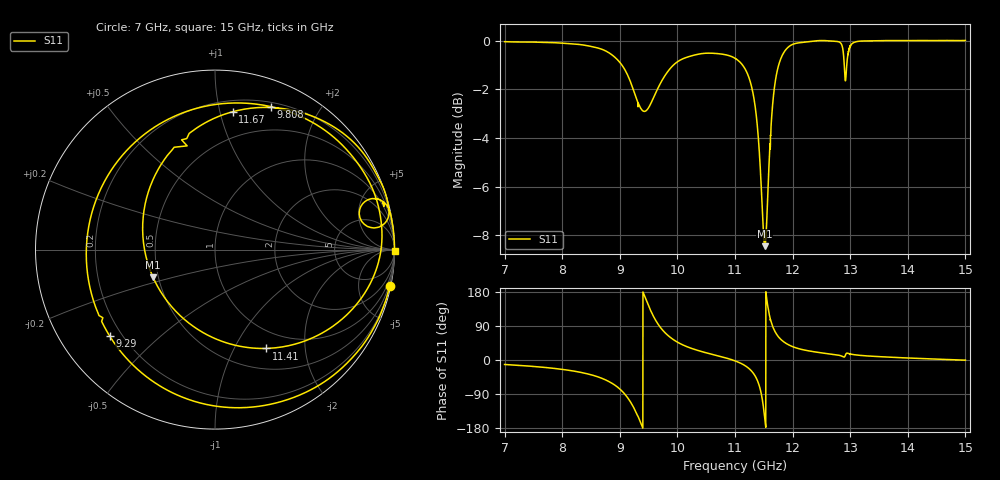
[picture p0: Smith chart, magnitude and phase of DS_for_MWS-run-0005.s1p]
! TOUCHSTONE file generated by CST DESIGN STUDIO
! Date and time: Mon Feb 10 16:54:03 2025
! Project name: C:\Work\MatlabApps\UnitCellType2OptimizationMatlab\CST\unitcell.cst
! Tree item: Tasks\Sweep1\SPara1\S-Parameters
! Header version: 2024
! Port assignment regex: !\s*Touchstone port\s*([0-9]+)\s*=\s*(CST MWS port|CST DES external port|CST DES block port)\s*(.+)\s* \(\"(.*)\"\)(\s*mode\s*([0-9]+))?.*
! Touchstone port assignment:
! Touchstone port 1 = CST DES external port 1 ("")
# GHz S MA R 50
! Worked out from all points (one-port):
!   4001 points, 7 GHz to 15 GHz, reference 50 ohm
!   lowest |S11| = -8.4 dB at 11.52 GHz (marker M1), VSWR 2.22, Z = 23.4 - j8.45 ohm
!   |S11| at or under -10 dB: nowhere
!   S11 on the Smith chart (normalised r, x): 7 GHz: 0.26, -9.66; 9.29 GHz: 0.15, -0.35; 9.808 GHz: 0.24, +1.44; 11.41 GHz: 0.76, -1.35; 11.67 GHz: 0.29, +1.09; 15 GHz: open
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7  0.9945 -11.8
8  0.9875 -24.7
8.63  0.9644 -45.0
9  0.9019 -76.5
9.16  0.8366 -104.7
9.29  0.7592 -140.5
9.422  0.7153 171.9
9.566  0.7543 120.7
9.67  0.8017 93.3
9.808  0.8553 68.6
10  0.9041 47.2
10.418  0.9397 22.4
11  0.9195 -2.3
11.26  0.8265 -24.9
11.41  0.6201 -62.6
11.466  0.4713 -96.9
11.518  0.3782 -155.8
11.576  0.5043 135.6
11.622  0.6453 103.5
11.67  0.7742 82.7
11.806  0.9241 52.9
12  0.9818 35.3
12.46  0.9995 19.7
12.874  0.957 8.8
12.932  0.862 17.3
13  0.9746 15.9
14  0.9996 5.3
15  1 -0.5
